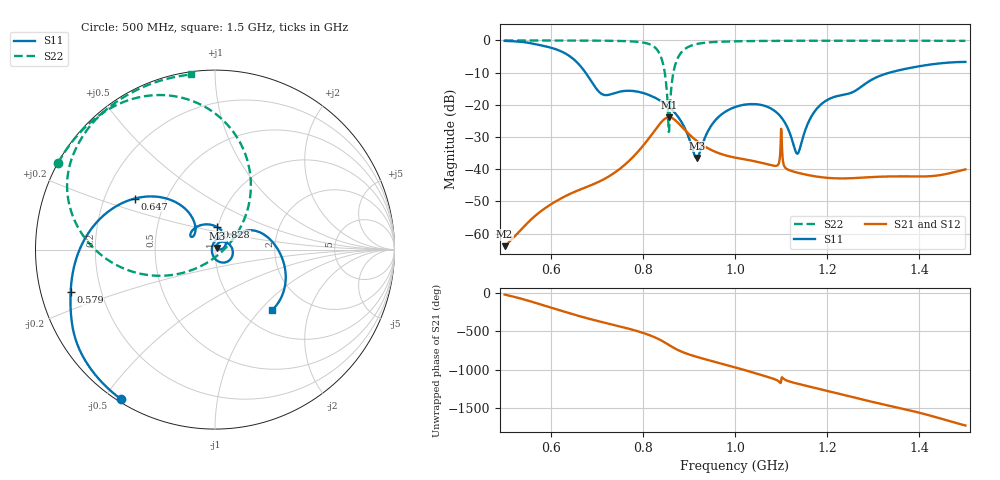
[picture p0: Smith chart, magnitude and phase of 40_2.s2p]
! TOUCHSTONE file generated by CST MICROWAVE STUDIO
! Date and time: Wed Oct 28 19:40:54 2020
! Project name: Scenario_1_Circular_Tissue_out_of_Line_v2.cst
! Parameters = {dy1=328.7; L_HA=400; MT=2.54; Rad_Dielectric=30; Rad_Lower=7.3; Rad_Upper=30; a_HA=580; a_WG=246; b_HA=500; b_WG=121; c_HA=0; c_WG=187; d_feed=85; dx1=346; h_feed=15; h_lower=18; h_upper=40}
! Header version: 2018
! Port assignment regex: !\s*Touchstone port\s*([0-9]+)\s*=\s*(CST MWS port|CST DS port)\s*([0-9]+|Zmin|Zmax)\s*\(\"(.*)\"\)(\s*mode\s*([0-9]+))?.*
! Touchstone port assignment:
! Touchstone port 1 = CST MWS port 1 ("")
! Touchstone port 2 = CST MWS port 2 ("")
# GHz S DB R 50
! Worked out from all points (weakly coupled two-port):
!   1003 points, 500 MHz to 1.5 GHz, reference 50 ohm
!   highest |S21| = -23.88 dB at 857 MHz (marker M1); lowest = -63.9 dB at 500 MHz (marker M2)
!   lowest |S11| = -36.5 dB at 917 MHz (marker M3), VSWR 1.03, Z = 51.2 + j0.9 ohm
!   |S11| at or under -10 dB: 675.6 MHz to 1.336 GHz (659.9 MHz wide, 65.6 % of centre)
!   |S22| runs from -28.4 to 0.0 dB; largest |S21 - S12| = 0.0025
!   S11 on the Smith chart (normalised r, x): 500 MHz: 0.01, -0.55; 579 MHz: 0.09, -0.14; 647 MHz: 0.33, +0.26; 828 MHz: 0.99, +0.25; 1.5 GHz: 1.37, -1.17
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0.5  -0.14 -122.3  -63.90 -20.2  -63.90 -20.2  -0.01 151.1
0.579  -1.53 -163.6  -53.02 -151.0  -53.02 -151.0  -0.02 145.7
0.647  -5.51 147.5  -47.34 84.6  -47.34 84.6  -0.03 140.2
0.667  -8.38 132.6  -46.15 49.8  -46.15 49.8  -0.04 138.4
0.713  -16.79 140.2  -43.29 -22.3  -43.29 -22.3  -0.08 133.2
0.786  -15.84 126.3  -35.10 -134.6  -35.10 -134.6  -0.40 118.2
0.828  -17.90 85.5  -27.55 135.3  -27.55 135.3  -2.42 89.8
0.834  -18.37 78.7  -26.42 118.3  -26.42 118.3  -3.53 81.3
0.845  -19.37 65.5  -24.67 82.9  -24.67 82.9  -8.00 59.8
0.857  -20.70 50.3  -23.88 39.3  -23.88 39.3  -28.32 -79.2
0.867  -22.09 37.1  -24.42 3.7  -24.42 3.7  -9.47 -154.3
0.875  -23.45 26.6  -25.41 -21.6  -25.41 -21.6  -5.71 -168.2
0.917  -36.51 36.0  -31.21 -114.9  -31.21 -114.9  -1.12 159.2
0.953  -25.55 54.0  -34.33 -174.3  -34.33 -174.3  -0.51 148.1
1  -20.70 9.1  -36.39 109.5  -36.39 109.5  -0.28 140.2
1.085  -21.77 -61.9  -38.94 -44.4  -38.94 -44.4  -0.13 131.1
1.1  -23.82 -77.6  -27.43 -79.9  -27.07 -77.6  -0.12 129.7
1.11  -25.98 -90.6  -39.67 -57.9  -39.67 -57.9  -0.12 128.8
1.135  -35.18 179.2  -41.06 -104.1  -41.06 -104.1  -0.10 126.8
1.167  -23.33 75.7  -42.05 -150.4  -42.05 -150.4  -0.09 124.2
1.334  -10.06 10.0  -42.25 -32.5  -42.25 -32.5  -0.09 111.5
1.5  -6.68 -46.3  -40.06 69.0  -40.05 68.9  -0.13 97.8
